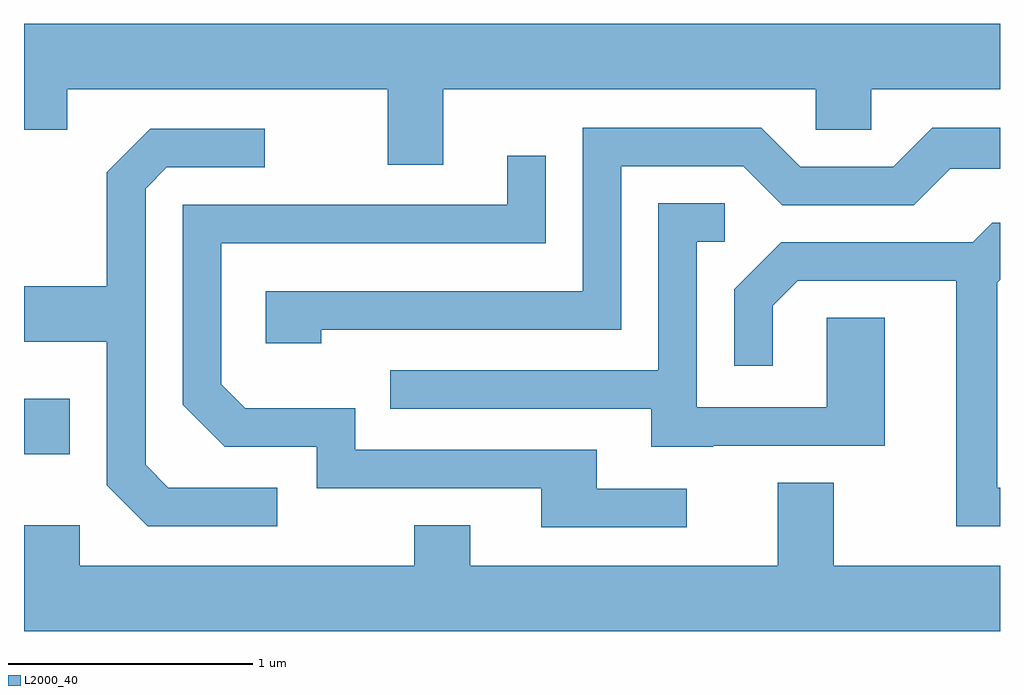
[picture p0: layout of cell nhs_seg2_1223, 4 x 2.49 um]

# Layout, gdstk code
import gdstk
lib = gdstk.Library(unit=1e-6, precision=1e-09)
def R(c, l, rs):  # rectangles x0, y0, x1, y1
    for r in rs: c.add(gdstk.rectangle(r[:2], r[2:], *l))
def P(c, l, *ps):  # polygons
    for p in ps: c.add(gdstk.Polygon(p, *l))
L2000_40 = (2000, 40)

nhs_seg2_1223 = lib.new_cell('nhs_seg2_1223')
R(nhs_seg2_1223, L2000_40, [(219.611,1113.421,219.799,1113.649)])
P(nhs_seg2_1223, L2000_40, [(221.329,1114.916),(222.856,1114.916),(222.856,1114.751),(223.084,1114.751),(223.084,1114.916),(223.611,1114.916),(223.611,1115.184),(219.611,1115.184),(219.611,1114.751),(219.789,1114.751),(219.789,1114.916),(221.101,1114.916),(221.101,1114.606),(221.329,1114.606)],
  [(220.829,1113.931),(222.059,1113.931),(222.059,1114.601),(222.559,1114.601),(222.719,1114.441),(223.257,1114.441),(223.407,1114.591),(223.611,1114.591),(223.611,1114.759),(223.334,1114.759),(223.174,1114.599),(222.792,1114.599),(222.632,1114.759),(221.901,1114.759),(221.901,1114.089),(220.601,1114.089),(220.601,1113.876),(220.829,1113.876)],
  [(220.648,1113.284),(220.202,1113.284),(220.109,1113.377),(220.109,1114.509),(220.197,1114.596),(220.598,1114.596),(220.598,1114.754),(220.129,1114.754),(219.951,1114.577),(219.951,1114.109),(219.611,1114.109),(219.611,1113.881),(219.951,1113.881),(219.951,1113.294),(220.119,1113.126),(220.648,1113.126)],
  [(222.328,1113.279),(221.959,1113.279),(221.959,1113.439),(220.969,1113.439),(220.969,1113.609),(220.517,1113.609),(220.419,1113.707),(220.419,1114.286),(221.749,1114.286),(221.749,1114.643),(221.591,1114.643),(221.591,1114.444),(220.261,1114.444),(220.261,1113.624),(220.434,1113.451),(220.811,1113.451),(220.811,1113.281),(221.731,1113.281),(221.731,1113.121),(222.328,1113.121)],
  [(222.435,1113.456),(223.139,1113.456),(223.139,1113.979),(222.901,1113.979),(222.901,1113.614),(222.369,1113.614),(222.369,1114.291),(222.483,1114.291),(222.483,1114.449),(222.211,1114.449),(222.211,1113.764),(221.113,1113.764),(221.113,1113.606),(222.181,1113.606),(222.181,1113.451),(222.435,1113.451)],
  [(223.611,1113.284),(223.599,1113.284),(223.599,1114.124),(223.611,1114.136),(223.611,1114.369),(223.579,1114.369),(223.499,1114.289),(222.714,1114.289),(222.521,1114.097),(222.521,1113.783),(222.679,1113.783),(222.679,1114.029),(222.782,1114.131),(223.431,1114.131),(223.431,1113.126),(223.611,1113.126)],
  [(223.611,1112.964),(222.929,1112.964),(222.929,1113.304),(222.701,1113.304),(222.701,1112.964),(221.439,1112.964),(221.439,1113.129),(221.211,1113.129),(221.211,1112.964),(219.839,1112.964),(219.839,1113.129),(219.611,1113.129),(219.611,1112.696),(223.611,1112.696)])

lib.write_gds('nhs_seg2_1223.gds')
